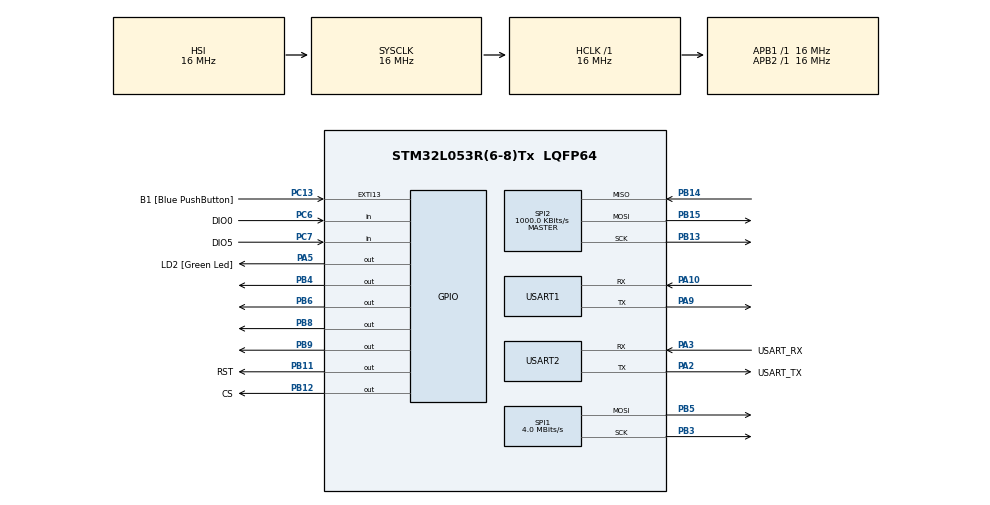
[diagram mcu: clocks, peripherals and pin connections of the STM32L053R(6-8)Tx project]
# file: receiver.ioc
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Dma.Request0=SPI2_RX
Dma.Request1=SPI2_TX
Dma.Request2=USART1_TX
Dma.Request3=USART1_RX
Dma.Request4=USART2_TX
Dma.Request5=USART2_RX
Dma.SPI2_RX.0.Direction=DMA_PERIPH_TO_MEMORY
Dma.SPI2_RX.0.Instance=DMA1_Channel4
Dma.SPI2_RX.0.MemDataAlignment=DMA_MDATAALIGN_BYTE
Dma.SPI2_RX.0.MemInc=DMA_MINC_ENABLE
Dma.SPI2_RX.0.Mode=DMA_NORMAL
Dma.SPI2_RX.0.PeriphDataAlignment=DMA_PDATAALIGN_BYTE
Dma.SPI2_RX.0.PeriphInc=DMA_PINC_DISABLE
Dma.SPI2_RX.0.Priority=DMA_PRIORITY_LOW
Dma.SPI2_TX.1.Direction=DMA_MEMORY_TO_PERIPH
Dma.SPI2_TX.1.Instance=DMA1_Channel5
Dma.SPI2_TX.1.MemDataAlignment=DMA_MDATAALIGN_BYTE
Dma.SPI2_TX.1.MemInc=DMA_MINC_ENABLE
Dma.SPI2_TX.1.Mode=DMA_NORMAL
Dma.SPI2_TX.1.PeriphDataAlignment=DMA_PDATAALIGN_BYTE
Dma.SPI2_TX.1.PeriphInc=DMA_PINC_DISABLE
Dma.SPI2_TX.1.Priority=DMA_PRIORITY_LOW
Dma.USART1_RX.3.Direction=DMA_PERIPH_TO_MEMORY
Dma.USART1_RX.3.Instance=DMA1_Channel3
Dma.USART1_RX.3.MemDataAlignment=DMA_MDATAALIGN_BYTE
Dma.USART1_RX.3.MemInc=DMA_MINC_ENABLE
Dma.USART1_RX.3.Mode=DMA_CIRCULAR
Dma.USART1_RX.3.PeriphDataAlignment=DMA_PDATAALIGN_BYTE
Dma.USART1_RX.3.PeriphInc=DMA_PINC_DISABLE
Dma.USART1_RX.3.Priority=DMA_PRIORITY_LOW
Dma.USART1_TX.2.Direction=DMA_MEMORY_TO_PERIPH
Dma.USART1_TX.2.Instance=DMA1_Channel2
Dma.USART1_TX.2.MemDataAlignment=DMA_MDATAALIGN_BYTE
Dma.USART1_TX.2.MemInc=DMA_MINC_ENABLE
Dma.USART1_TX.2.Mode=DMA_NORMAL
Dma.USART1_TX.2.PeriphDataAlignment=DMA_PDATAALIGN_BYTE
Dma.USART1_TX.2.PeriphInc=DMA_PINC_DISABLE
Dma.USART1_TX.2.Priority=DMA_PRIORITY_LOW
Dma.USART2_RX.5.Direction=DMA_PERIPH_TO_MEMORY
Dma.USART2_RX.5.Instance=DMA1_Channel6
Dma.USART2_RX.5.MemDataAlignment=DMA_MDATAALIGN_BYTE
Dma.USART2_RX.5.MemInc=DMA_MINC_ENABLE
Dma.USART2_RX.5.Mode=DMA_CIRCULAR
Dma.USART2_RX.5.PeriphDataAlignment=DMA_PDATAALIGN_BYTE
Dma.USART2_RX.5.PeriphInc=DMA_PINC_DISABLE
Dma.USART2_RX.5.Priority=DMA_PRIORITY_LOW
Dma.USART2_TX.4.Direction=DMA_MEMORY_TO_PERIPH
Dma.USART2_TX.4.Instance=DMA1_Channel7
Dma.USART2_TX.4.MemDataAlignment=DMA_MDATAALIGN_BYTE
Dma.USART2_TX.4.MemInc=DMA_MINC_ENABLE
Dma.USART2_TX.4.Mode=DMA_NORMAL
Dma.USART2_TX.4.PeriphDataAlignment=DMA_PDATAALIGN_BYTE
Dma.USART2_TX.4.PeriphInc=DMA_PINC_DISABLE
Dma.USART2_TX.4.Priority=DMA_PRIORITY_LOW
Mcu.Family=STM32L0
Mcu.Name=STM32L053R(6-8)Tx
Mcu.Package=LQFP64
NVIC.DMA1_Channel2_3_IRQn=true\:0\:0\:false\:false\:true
NVIC.DMA1_Channel4_5_6_7_IRQn=true\:0\:0\:false\:false\:true
NVIC.SPI2_IRQn=true\:0\:0\:false\:false\:true
NVIC.USART1_IRQn=true\:0\:0\:false\:false\:true
NVIC.USART2_IRQn=true\:0\:0\:false\:false\:true
PA10.Mode=Asynchronous
PA10.Signal=USART1_RX
PA13.GPIO_Label=TMS
PA13.Mode=Serial_Wire
PA13.Signal=SYS_SWDIO
PA14.GPIO_Label=TCK
PA14.Mode=Serial_Wire
PA14.Signal=SYS_SWCLK
PA2.GPIO_Label=USART_TX
PA2.Mode=Asynchronous
PA2.Signal=USART2_TX
PA3.GPIO_Label=USART_RX
PA3.Mode=Asynchronous
PA3.Signal=USART2_RX
PA5.GPIO_Label=LD2 [Green Led]
PA5.Signal=GPIO_Output
PA9.Mode=Asynchronous
PA9.Signal=USART1_TX
PB11.GPIO_Label=RST
PB11.Signal=GPIO_Output
PB12.GPIO_Label=CS
PB12.Signal=GPIO_Output
PB13.Mode=Full_Duplex_Master
PB13.Signal=SPI2_SCK
PB14.Mode=Full_Duplex_Master
PB14.Signal=SPI2_MISO
PB15.Mode=Full_Duplex_Master
PB15.Signal=SPI2_MOSI
PB3.Mode=TX_Only_Simplex_Unidirect_Master
PB3.Signal=SPI1_SCK
PB4.GPIO_PuPd=GPIO_PULLUP
PB4.GPIO_Speed=GPIO_SPEED_FREQ_VERY_HIGH
PB4.PinState=GPIO_PIN_SET
PB4.Signal=GPIO_Output
PB5.Mode=TX_Only_Simplex_Unidirect_Master
PB5.Signal=SPI1_MOSI
PB6.GPIO_FM6=I2C_FASTMODEPLUS_PB6
PB6.GPIO_PuPd=GPIO_PULLUP
PB6.GPIO_Speed=GPIO_SPEED_FREQ_VERY_HIGH
PB6.PinState=GPIO_PIN_SET
PB6.Signal=GPIO_Output
PB8.GPIO_FM8=I2C_FASTMODEPLUS_PB8
PB8.GPIO_ModeDefaultOutputPP=GPIO_MODE_OUTPUT_PP
PB8.GPIO_PuPd=GPIO_PULLUP
PB8.GPIO_Speed=GPIO_SPEED_FREQ_VERY_HIGH
PB8.PinState=GPIO_PIN_SET
PB8.Signal=GPIO_Output
PB9.GPIO_FM9=I2C_FASTMODEPLUS_PB9
PB9.GPIO_PuPd=GPIO_PULLUP
PB9.GPIO_Speed=GPIO_SPEED_FREQ_VERY_HIGH
PB9.Signal=GPIO_Output
PC13.GPIO_Label=B1 [Blue PushButton]
PC13.GPIO_ModeDefaultEXTI=GPIO_MODE_EVT_RISING
PC13.Signal=GPXTI13
PC14-OSC32_IN.Signal=RCC_OSC32_IN
PC15-OSC32_OUT.Signal=RCC_OSC32_OUT
PC6.GPIO_Label=DIO0
PC6.GPIO_PuPd=GPIO_PULLDOWN
PC6.Signal=GPIO_Input
PC7.GPIO_Label=DIO5
PC7.GPIO_PuPd=GPIO_PULLDOWN
PC7.Signal=GPIO_Input
PH0-OSC_IN.Signal=RCC_OSC_IN
PH1-OSC_OUT.Signal=RCC_OSC_OUT
ProjectManager.HeapSize=0x200
ProjectManager.StackSize=0x400
ProjectManager.TargetToolchain=MDK-ARM V5
RCC.ADCFreq_Value=16000000
RCC.AHBFreq_Value=16000000
RCC.APB1Freq_Value=16000000
RCC.APB1TimFreq_Value=16000000
RCC.APB2Freq_Value=16000000
RCC.APB2TimFreq_Value=16000000
RCC.HCLKFreq_Value=16000000
RCC.HSE_VALUE=8000000
RCC.HSI16_VALUE=16000000
RCC.HSI48MClockSelection=RCC_USBCLKSOURCE_HSI48
RCC.HSI48_VALUE=48000000
RCC.HSI_VALUE=16000000
RCC.LSE_VALUE=32768
RCC.MSIClockRange=RCC_MSIRANGE_4
RCC.MSI_VALUE=1048000
RCC.PLLDIV=RCC_PLLDIV_4
RCC.PLLMUL=RCC_PLLMUL_6
RCC.SYSCLKFreq_VALUE=16000000
RCC.SYSCLKSource=RCC_SYSCLKSOURCE_HSI
RCC.VCOOutputFreq_Value=96000000
SPI1.BaudRatePrescaler=SPI_BAUDRATEPRESCALER_4
SPI1.CalculateBaudRate=4.0 MBits/s
SPI1.Mode=SPI_MODE_MASTER
SPI1.NSSPMode=SPI_NSS_PULSE_DISABLE
SPI2.BaudRatePrescaler=SPI_BAUDRATEPRESCALER_16
SPI2.CalculateBaudRate=1000.0 KBits/s
SPI2.Mode=SPI_MODE_MASTER
USART1.WordLength=UART_WORDLENGTH_8B
USART2.WordLength=UART_WORDLENGTH_8B
board=NUCLEO-L053R8

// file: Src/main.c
/**
  ******************************************************************************
  * File Name          : main.c
  * Description        : Main program body
  ******************************************************************************
  *
  * COPYRIGHT(c) 2016 STMicroelectronics
  *
  * Redistribution and use in source and binary forms, with or without modification,
  * are permitted provided that the following conditions are met:
  *   1. Redistributions of source code must retain the above copyright notice,
  *      this list of conditions and the following disclaimer.
  *   2. Redistributions in binary form must reproduce the above copyright notice,
  *      this list of conditions and the following disclaimer in the documentation
  *      and/or other materials provided with the distribution.
  *   3. Neither the name of STMicroelectronics nor the names of its contributors
  *      may be used to endorse or promote products derived from this software
  *      without specific prior written permission.
  *
  * THIS SOFTWARE IS PROVIDED BY THE COPYRIGHT HOLDERS AND CONTRIBUTORS "AS IS"
  * AND ANY EXPRESS OR IMPLIED WARRANTIES, INCLUDING, BUT NOT LIMITED TO, THE
  * IMPLIED WARRANTIES OF MERCHANTABILITY AND FITNESS FOR A PARTICULAR PURPOSE ARE
  * DISCLAIMED. IN NO EVENT SHALL THE COPYRIGHT HOLDER OR CONTRIBUTORS BE LIABLE
  * FOR ANY DIRECT, INDIRECT, INCIDENTAL, SPECIAL, EXEMPLARY, OR CONSEQUENTIAL
  * DAMAGES (INCLUDING, BUT NOT LIMITED TO, PROCUREMENT OF SUBSTITUTE GOODS OR
  * SERVICES; LOSS OF USE, DATA, OR PROFITS; OR BUSINESS INTERRUPTION) HOWEVER
  * CAUSED AND ON ANY THEORY OF LIABILITY, WHETHER IN CONTRACT, STRICT LIABILITY,
  * OR TORT (INCLUDING NEGLIGENCE OR OTHERWISE) ARISING IN ANY WAY OUT OF THE USE
  * OF THIS SOFTWARE, EVEN IF ADVISED OF THE POSSIBILITY OF SUCH DAMAGE.
  *
  ******************************************************************************
  */
#include "stm32l0xx_hal.h"
#include "dma.h"
#include "spi.h"
#include "usart.h"
#include "gpio.h"

/* USER CODE BEGIN Includes */
#include "f10x-pcd8544.h"

#define	CS		GPIO_PIN_12	//A4 - CS
#define	DIO0	GPIO_PIN_6
#define	DIO5	GPIO_PIN_7
#define PACKAGE_LENGTH 16

#define	len	0x10

/* USER CODE END Includes */

/* USER CODE BEGIN PV */
/* Private variables ---------------------------------------------------------*/
uint8_t	package_length = 16;
uint8_t spiTxData[2];
uint8_t spiRxData[2];
uint8_t	send_SPI[0x04];
uint8_t	get_SPI[0x04];
uint8_t	iii,temp0,temp1,temp2,temp3,base_addr;
uint8_t	transmitLoRa[len] ={0x55,0xAA};
uint8_t	RegNumber[0x80];
uint16_t ttt,ttt1,x,y;
uint8_t	dig[3];
uint8_t buffer[10];
uint32_t	packet_number=0;
char	bbb[16] =  {0x20,0x20,0x20,0x20,0x20,0x20,0x20,0x20,0x20,0x20,0x20,0x20,0x20,0x20,0x0A,0x0D};
char* ptrbbb;
uint8_t	receive_UART[16] = {0};
uint8_t	buffer_receive_UART[16] = {0};
uint8_t	transmit_UART[48] = {0x20,0x20,0x20,0x20,0x20,0x20,0x20,0x20,0x20,0x20,0x20,0x20,0x20,0x20,0x20,0x20,
														 0x20,0x20,0x20,0x20,0x20,0x20,0x20,0x20,0x20,0x20,0x20,0x20,0x20,0x20,0x20,0x20,
													   0x20,0x20,0x20,0x20,0x20,0x20,0x20,0x20,0x20,0x20,0x20,0x20,0x20,0x20,0x0A,0x0D};
uint8_t	receive_pack[16] = {0};
uint8_t	addr_lora,addr_lora1,addr_lora2,data_lora,data_lora1,data_lora2;
  unsigned char i;
  unsigned char UART_Data;
  unsigned char RFM_Package[256]={0};

uint8_t	read_reg, read_register,reading_register,reading_register_l, reading_register_h,  read_register_l;
uint8_t	F_23_16,F_15_8,F_7_0;
uint8_t	l_100,l_10,l_1;
uint8_t	f_100000,f_10000,f_1000,f_100,f_10,f_1;
uint32_t freq_hex1,freq_hex2;
uint8_t power_bits, power_reg_old;
uint8_t bandwidth_bit, old_bandwidth_bit;
uint8_t spread, spread_read,spread_write,spread_mask;
uint8_t	time_sec;
extern	uint8_t* out1,out2;
extern	uint8_t spiTxData[2];
extern	uint8_t spiRxData[2];

uint8_t www[6];
uint8_t reg_setting[0x40];
/* USER CODE END PV */

void SystemClock_Config(void);
void Error_Handler(void);

/* USER CODE BEGIN PFP */
/* Private function prototypes -----------------------------------------------*/

/* USER CODE END PFP */

/* USER CODE BEGIN 0 */

/*
*****************************************************************************************
* Description:  Function is used to read a value from a specific register of the RFM module
*
* Arguments:    RFM_Adress  Adress of the register to read
*
* Return:       The value of the register is returned
*****************************************************************************************
*/
unsigned char RFM_Read(uint8_t RFM_Address)
{
spiTxData[0] = 	RFM_Address & 0x7F;
  //Set NSS pin low to start SPI communication
HAL_GPIO_WritePin(GPIOB, CS, GPIO_PIN_RESET);//CS = 0

HAL_SPI_TransmitReceive_DMA(&hspi2, spiTxData , spiRxData, 2);
  //Set NSS high to end communication

HAL_GPIO_WritePin(GPIOB, CS, GPIO_PIN_SET);//CS = 1
  //Return received data
  return spiRxData[1];
}

/*
*****************************************************************************************
* Description:    Function is used to write a value to a specific register of the RFM module
*
* Arguments:      RFM_Adress  Adress of the register to be written
                  RFM_Data    Data that will be written
*****************************************************************************************
*/
void RFM_Write(uint8_t RFM_Address, uint8_t RFM_Data)
{
  //Set NSS pin Low to start communication
HAL_GPIO_WritePin(GPIOB, CS, GPIO_PIN_RESET);//CS = 0

  //Send Addres with MSB 1 to make it a writ command
spiTxData[0] = 	RFM_Address | 0x80;
spiTxData[1] = 	RFM_Data;
  //Send Data
HAL_SPI_TransmitReceive_DMA(&hspi2, spiTxData , spiRxData, 2);

  //Set NSS pin High to end communication
HAL_GPIO_WritePin(GPIOB, CS, GPIO_PIN_SET);//CS = 1
}

/*
*****************************************************************************************
* Description  :   Function is used to send a message of 10 bytes
*
* Arguments   :   *RFM_Package Pointer to the array with the data to send
*****************************************************************************************
*/
void RFM_SendPackage(unsigned char *RFM_Package)
{
  unsigned char i;

  //Switch RFM to standby
  RFM_Write(0x01,0x81);
  //Wait for mode ready
  while(HAL_GPIO_ReadPin(GPIOC, DIO5) == 0){}

  //Set SPI pointer to Tx base address
  RFM_Write(0x0D,0x80);

  //Switch DIO to TxDone
  RFM_Write(0x40,0x40);

  //Write payload in to the fifo
  for(i = 0; i < package_length; i++)
  {
    RFM_Write(0x00,*RFM_Package);
    RFM_Package++;
  }

  //Switch RFM to TX
  RFM_Write(0x01,0x83);

  //Wait on TxDone
  while(HAL_GPIO_ReadPin(GPIOC, DIO0) == 0){}

  //Clear interrupt
  RFM_Write(0x12,0x08);

  //Set DIO0 to RxDone
  RFM_Write(0x40,0x00);

   //Set RFM in continues receive
  RFM_Write(0x01,0x85);
  //Wait for mode ready
  while(HAL_GPIO_ReadPin(GPIOC, DIO5) == 0){}
}

/*
*****************************************************************************************
* Description:  Function is to get a message of 10 bytes received by the RFM
*
* Arguments:    *RFM_Package  Pointer to the array with the data to send
*****************************************************************************************
*/
void RFM_ReadPackage(unsigned char *RFM_Package)
{
  unsigned char i;
//  unsigned char RFM_Interrupt;
  unsigned char RFM_PackageLocation;

  //Get interrupt register
//  RFM_Interrupt = RFM_Read(0x12);

  //Switch RFM to Standby
  RFM_Write(0x01,0x81);
  //Wait for mode ready
  while(HAL_GPIO_ReadPin(GPIOC, DIO5) == 0){}

  //Clear interrupt register
  RFM_Write(0x12,0x60);

  //Get package location
  RFM_PackageLocation = RFM_Read(0x10);

  //Set SPI pointer to Packagelocation
  RFM_Write(0x0D,RFM_PackageLocation);

  //Get message
  for(i = 0; i < package_length; i++)
  {
    *RFM_Package = RFM_Read(0x00);
    RFM_Package++;
  }

  //Switch RFM to receive
  RFM_Write(0x01,0x85);
  //Wait for mode ready
}

/*
*****************************************************************************************
* Description  :   Initialisation of the RFM module.
*                  Check the datasheet if you want to use other settings
*****************************************************************************************
*/
void RFM_Init()
{
  //Setting RFM in sleep
  RFM_Write(0x01,0x00);

  //Switch to LoRa mode
  RFM_Write(0x01,0x80);

  //Setting RFM to standby
  RFM_Write(0x01,0x81);
  //Wait for mode ready
  while(HAL_GPIO_ReadPin(GPIOC, DIO5) == 0){}

  //Set carrier frequency
  //433.175 MHz / 61.035 Hz = 7097157 = 0x6C4B45
  RFM_Write(0x06,0x6C);
  RFM_Write(0x07,0x4B);
  RFM_Write(0x08,0x45);

  //Set Pa pin to maximal power
  RFM_Write(0x09,0xFF);

  //Bandwith 250 kHz, Coding rate = 4/8, Implicit header mode
  RFM_Write(0x1D,0x8B);

  //Spreading factor 6, PayloadCRC on
  RFM_Write(0x1E,0x64);
  //Setting additional register for SF6 use other settings for the other SF
  RFM_Write(0x31,0xC5);
  RFM_Write(0x37,0x0C);

  //Preamble length 0x0018 + 4 = 28
  RFM_Write(0x20,0x00);
  RFM_Write(0x21,0x18);

  //Payload length
  RFM_Write(0x22,package_length);

  //Set RFM in continues receive
  RFM_Write(0x01,0x85);
  //Wait for mode ready
  while(HAL_GPIO_ReadPin(GPIOC, DIO5) == 0){}
}

void	digit(uint8_t	hexdig)
{
dig[0] = 0x30 + hexdig/100;
dig[1] = 0x30 + (hexdig - 100*(hexdig/100))/10;
dig[2] = 0x30 + (hexdig - 100*(hexdig/100) - 10*((hexdig - 100*(hexdig/100))/10));
}

uint8_t convert_to_hex_digit(uint8_t digit)
{
  switch(digit)
	{
		case 0x0:
			digit = 0x30;
		break;
		case 0x1:
			digit = 0x31;
		break;
		case 0x2:
			digit = 0x32;
		break;
		case 0x3:
			digit = 0x33;
		break;
		case 0x4:
			digit = 0x34;
		break;
		case 0x5:
			digit = 0x35;
		break;
		case 0x6:
			digit = 0x36;
		break;
		case 0x7:
			digit = 0x37;
		break;
		case 0x8:
			digit = 0x38;
		break;
		case 0x9:
			digit = 0x39;
		break;
		case 0xA:
			digit = 0x41;
		break;
		case 0xB:
			digit = 0x42;
		break;
		case 0xC:
			digit = 0x43;
		break;
		case 0xD:
			digit = 0x44;
		break;
		case 0xE:
			digit = 0x45;
		break;
		case 0xF:
			digit = 0x46;
		break;
		default:
			break;
	}
		return digit;
}
////////////////////////////////////////////////////////////////////////////////////////////////
void	hex_string(uint32_t packet_number, uint8_t* string_packet)
{
	uint8_t u[8];
	u[7] = packet_number/10000000;
	*string_packet = 0x30 + u[7];
	u[6] = (packet_number - u[7]*10000000)/1000000;
	*(string_packet + 1) = 0x30 + u[6];
	u[5] = (packet_number - u[7]*10000000 - u[6]*1000000)/100000;
	*(string_packet + 2) = 0x30 + u[5];
	u[4] = (packet_number - u[7]*10000000 -u [6]*1000000 - u[5]*100000)/10000;
	*(string_packet + 3) = 0x30  + u[4];
	u[3] = (packet_number - u[7]*10000000 - u[6]*1000000 - u[5]*100000 - u[4]*10000)/1000;
	*(string_packet + 4) = 0x30 + u[3];
	u[2] = (packet_number - u[7]*10000000 - u[6]*1000000 - u[5]*100000 - u[4]*10000 - u[3]*1000)/100;
	*(string_packet + 5) = 0x30 + u[2];
	u[1] = (packet_number - u[7]*10000000 - u[6]*1000000 - u[5]*100000 - u[4]*10000 - u[3]*1000 - u[2]*100)/10;
	*(string_packet + 6) = 0x30 + u[1];
	u[0] = (packet_number - u[7]*10000000 - u[6]*1000000 - u[5]*100000 - u[4]*10000 - u[3]*1000 - u[2]*100 - u[1]*10);
	*(string_packet + 7) = 0x30 + u[0];
}
///////////////////////////////////////////////////////////////////////////////////////////////////////////

/* USER CODE END 0 */

int main(void)
{

  /* MCU Configuration----------------------------------------------------------*/

  /* Reset of all peripherals, Initializes the Flash interface and the Systick. */
  HAL_Init();

  /* Configure the system clock */
  SystemClock_Config();

  /* Initialize all configured peripherals */
  MX_GPIO_Init();
  MX_DMA_Init();
  MX_SPI2_Init();
  MX_USART1_UART_Init();
  MX_USART2_UART_Init();
  MX_SPI1_Init();

  /* USER CODE BEGIN 2 */

  RFM_Package[0] = 0x20; RFM_Package[1] = 0x20; RFM_Package[2] = 0x20; RFM_Package[3] = 0x20; RFM_Package[4] = 0x20;
  RFM_Package[5] = 0x20; RFM_Package[6] = 0x20; RFM_Package[7] = 0x20; RFM_Package[8] = 0x20; RFM_Package[9] = 0x20;
  RFM_Package[0xA] = 0x20; RFM_Package[0xB] = 0x20; RFM_Package[0xC] = 0x20; RFM_Package[0xD] = 0x20;
	RFM_Package[0xE] = 0x0D;
	RFM_Package[0xF] = 0x0A;

  //Initialieze the RFM module
  RFM_Init();

lcd8544_init();

    const unsigned char str1[]="LORA RFM96W";
    const unsigned char str2[]="ON STM32F103";
    lcd8544_putstr(6, 10, str1, 0); // 1-st string
    lcd8544_putstr(6, 24, str2, 0); // 2-nd string

    lcd8544_refresh(); // buffer at screen
		HAL_Delay(500);

		char *text_no = "   NO  Signal  ";

			for(iii=0;iii<=14;iii++)
			{
			transmit_UART[iii] = *(text_no + iii);
			}

HAL_UART_Transmit_DMA(&huart2, transmit_UART, 48);

  /* USER CODE END 2 */

  /* Infinite loop */
  while (1)
  {

  /* USER CODE BEGIN 3 */

  //Setting RFM to standby
  RFM_Write(0x01,0x81);
  //Wait for mode ready
  while(HAL_GPIO_ReadPin(GPIOC, DIO5) == 0){}

  for(uint8_t  i=0; i<0x40;i++)
		{
			reg_setting[i]=RFM_Read(i);
		}

  //Set RFM in continues receive
  RFM_Write(0x01,0x85);
  //Wait for mode ready
  while(HAL_GPIO_ReadPin(GPIOC, DIO5) == 0){}

HAL_UART_Receive_DMA(&huart2, buffer_receive_UART, 12);
//-------     TEST receive command S (send to registers)
		if((buffer_receive_UART[0] == 0x53) && (buffer_receive_UART[11] == 0x29))
		{
						for(iii=0;iii<=15;iii++)
							{
								receive_UART[iii] = buffer_receive_UART[iii];
							}
						switch (receive_UART [4])
						{
							case 0x41:
								addr_lora1 = 0xA0;
								break;
							case 0x42:
								addr_lora1 = 0xB0;
								break;
							case 0x43:
								addr_lora1 = 0xC0;
								break;
							case 0x44:
								addr_lora1 = 0xD0;
								break;
							case 0x45:
								addr_lora1 = 0xE0;
								break;
							case 0x46:
								addr_lora1 = 0xF0;
								break;
							default:
							addr_lora1 = (0x0F & receive_UART[4]) << 4;
						}

						switch (receive_UART [5])
						{
							case 0x41:
								addr_lora2 = 0xA;
								break;
							case 0x42:
								addr_lora2 = 0xB;
								break;
							case 0x43:
								addr_lora2 = 0xC;
								break;
							case 0x44:
								addr_lora2 = 0xD;
								break;
							case 0x45:
								addr_lora2 = 0xE;
								break;
							case 0x46:
								addr_lora2 = 0xF;
								break;
							default:
							addr_lora2 = 0x0F & receive_UART[5];
						}
						addr_lora = addr_lora1 + addr_lora2;

						switch (receive_UART [9])
						{
							case 0x41:
								data_lora1 = 0xA0;
								break;
							case 0x42:
								data_lora1 = 0xB0;
								break;
							case 0x43:
								data_lora1 = 0xC0;
								break;
							case 0x44:
								data_lora1 = 0xD0;
								break;
							case 0x45:
								data_lora1 = 0xE0;
								break;
							case 0x46:
								data_lora1 = 0xF0;
								break;
							default:
							data_lora1 = (0x0F & receive_UART[9]) << 4;
						}

						switch (receive_UART [0x0A])
						{
							case 0x41:
								data_lora2 = 0xA;
								break;
							case 0x42:
								data_lora2 = 0xB;
								break;
							case 0x43:
								data_lora2 = 0xC;
								break;
							case 0x44:
								data_lora2 = 0xD;
								break;
							case 0x45:
								data_lora2 = 0xE;
								break;
							case 0x46:
								data_lora2 = 0xF;
								break;
							default:
							data_lora2 = 0x0F & receive_UART[0x0A];
						}
						data_lora = data_lora1 + data_lora2;

  //Setting RFM to standby
  RFM_Write(0x01,0x81);
  //Wait for mode ready
  while(HAL_GPIO_ReadPin(GPIOC, DIO5) == 0){}

						RFM_Write(addr_lora,data_lora);	//go SLEEP MODE !!!!
						read_reg = RFM_Read(addr_lora);
  //Set RFM in continues receive
  RFM_Write(0x01,0x85);
  //Wait for mode ready
  while(HAL_GPIO_ReadPin(GPIOC, DIO5) == 0){}

						char *ok = "  OK               ";
						for(iii=0;iii<=13;iii++)
						{
							transmit_UART[iii] = *(ok + iii);
						}
						HAL_UART_Transmit_DMA(&huart2, transmit_UART, 48);

						for(iii=0;iii<=15;iii++)
							{
								buffer_receive_UART[iii] = 0;
							}
		}

//-------     TEST receive command F (set frequency)
		if((buffer_receive_UART[0] == 0x46) && (buffer_receive_UART[8] == 0x29))
		{
						for(iii=0;iii<=15;iii++)
							{
								receive_UART[iii] = buffer_receive_UART[iii];
							}
			f_100000 = 0xF & receive_UART[2];
			f_10000	= 0xF & receive_UART[3];
			f_1000 = 0xF & receive_UART[4];
			f_100	= 0xF & receive_UART[5];
			f_10 = 0xF & receive_UART[6];
			f_1	= 0xF & receive_UART[7];

			freq_hex1 = (100000*f_100000 + 10000*f_10000 + 1000*f_1000 + 100*f_100 + 10*f_10 +f_1)*1000;
			freq_hex2 = freq_hex1 / 61.035;
			F_7_0 = 0xFF & freq_hex2;
			F_15_8 = 0xFF & (freq_hex2 >>8);
			F_23_16 = 0xFF & (freq_hex2 >>16);

  //Setting RFM to standby
  RFM_Write(0x01,0x81);
  //Wait for mode ready
  while(HAL_GPIO_ReadPin(GPIOC, DIO5) == 0){}

  //Set carrier frequency
  //433.175 MHz / 61.035 Hz = 7097157 = 0x6C4B45
	www[0] = RFM_Read(0x06);
	www[1] = RFM_Read(0x07);
	www[2] = RFM_Read(0x08);

  RFM_Write(0x06,F_23_16);
  RFM_Write(0x07,F_15_8);
  RFM_Write(0x08,F_7_0);

	www[3] = RFM_Read(0x06);
	www[4] = RFM_Read(0x07);
	www[5] = RFM_Read(0x08);

  //Set RFM in continues receive
  RFM_Write(0x01,0x85);
  //Wait for mode ready
  while(HAL_GPIO_ReadPin(GPIOC, DIO5) == 0){}

						char *ok = "  OK               ";
						for(iii=0;iii<=13;iii++)
						{
							transmit_UART[iii] = *(ok + iii);
						}
						HAL_UART_Transmit_DMA(&huart2, transmit_UART, 48);

						for(iii=0;iii<=15;iii++)
							{
								buffer_receive_UART[iii] = 0;
							}
		}

//-------     TEST receive command P (set power) 00- min 1,  12 - max
		if((buffer_receive_UART[0] == 0x50) && (buffer_receive_UART[4] == 0x29))
		{
						for(iii=0;iii<=15;iii++)
							{
								receive_UART[iii] = buffer_receive_UART[iii];
							}

						//Setting RFM to standby
						RFM_Write(0x01,0x81);
						//Wait for mode ready
						while(HAL_GPIO_ReadPin(GPIOC, DIO5) == 0){}
						power_reg_old = RFM_Read(0x09);
						power_reg_old = 0xF0 & power_reg_old;
						power_bits = 10*(0x1 & receive_UART[2]) + 0xF & receive_UART[3];
						//power_bits = power_bits << 4;
						power_bits = power_reg_old | power_bits;
						RFM_Write(0x09,power_bits);

  //Set RFM in continues receive
  RFM_Write(0x01,0x85);
  //Wait for mode ready
  while(HAL_GPIO_ReadPin(GPIOC, DIO5) == 0){}

						char *ok = "  OK               ";
						for(iii=0;iii<=13;iii++)
						{
							transmit_UART[iii] = *(ok + iii);
						}
						HAL_UART_Transmit_DMA(&huart2, transmit_UART, 48);

						for(iii=0;iii<=15;iii++)
							{
								buffer_receive_UART[iii] = 0;
							}

		}
//-------     TEST receive command B (set signal bandwidth) 1 - 7.8 kHz, 9 - 500 kHz
		if((buffer_receive_UART[0] == 0x42) && (buffer_receive_UART[3] == 0x29))
		{
						for(iii=0;iii<=15;iii++)
							{
								receive_UART[iii] = buffer_receive_UART[iii];
							}
  //Setting RFM to standby
  RFM_Write(0x01,0x81);
  //Wait for mode ready
  while(HAL_GPIO_ReadPin(GPIOC, DIO5) == 0){}

	old_bandwidth_bit = RFM_Read(0x1D);
	old_bandwidth_bit = 0xF0 & old_bandwidth_bit;
	bandwidth_bit = 0xF & receive_UART[2];
	bandwidth_bit = bandwidth_bit << 4;
	bandwidth_bit = old_bandwidth_bit | bandwidth_bit;

  RFM_Write(0x1D,bandwidth_bit);

  //Set RFM in continues receive
  RFM_Write(0x01,0x85);
  //Wait for mode ready
  while(HAL_GPIO_ReadPin(GPIOC, DIO5) == 0){}

						char *ok = "  OK               ";
						for(iii=0;iii<=13;iii++)
						{
							transmit_UART[iii] = *(ok + iii);
						}
						HAL_UART_Transmit_DMA(&huart2, transmit_UART, 48);

						for(iii=0;iii<=15;iii++)
							{
								buffer_receive_UART[iii] = 0;
							}
		}
//-------     TEST receive command D (set Spreading Factor) 6 - 64 chips / symbol, 12 - 4096 chips / symbol
		if((buffer_receive_UART[0] == 0x44) && (buffer_receive_UART[3] == 0x29))
		{
						for(iii=0;iii<=15;iii++)
							{
								receive_UART[iii] = buffer_receive_UART[iii];
							}

  //Spreading factor 6, PayloadCRC on
  //RFM_Write(0x1E,0x64);

  //Setting RFM to standby
  RFM_Write(0x01,0x81);
  //Wait for mode ready
  while(HAL_GPIO_ReadPin(GPIOC, DIO5) == 0){}

						spread_read = RFM_Read(0x1E);
						spread_mask = 0xF & receive_UART[2];
						if(spread_mask > 6){spread_mask = 6;}
						spread = 0x60 + (spread_mask << 4);
						spread_write = spread | (0x0f & spread_read);

  RFM_Write(0x1E,spread);

  //Set RFM in continues receive
  RFM_Write(0x01,0x85);
  //Wait for mode ready
  while(HAL_GPIO_ReadPin(GPIOC, DIO5) == 0){}

						char *ok = "  OK               ";
						for(iii=0;iii<=13;iii++)
						{
							transmit_UART[iii] = *(ok + iii);
						}
						HAL_UART_Transmit_DMA(&huart2, transmit_UART, 48);

						for(iii=0;iii<=15;iii++)
							{
								buffer_receive_UART[iii] = 0;
							}
		}
//-------     TEST receive command T (set time) in sec
		if((buffer_receive_UART[0] == 0x54) && (buffer_receive_UART[4] == 0x29))
		{
						for(iii=0;iii<=15;iii++)
							{
								receive_UART[iii] = buffer_receive_UART[iii];
							}
						time_sec = 16*(0xf & receive_UART[2]) + 0xf & receive_UART[3];

						char *ok = "  OK               ";
						for(iii=0;iii<=13;iii++)
						{
							transmit_UART[iii] = *(ok + iii);
						}
						HAL_UART_Transmit_DMA(&huart2, transmit_UART, 48);

						for(iii=0;iii<=15;iii++)
							{
								buffer_receive_UART[iii] = 0;
							}
		}

//-------     TEST receive command L (set package length)
		if((buffer_receive_UART[0] == 0x4C) && (buffer_receive_UART[5] == 0x29))
		{
						for(iii=0;iii<=15;iii++)
							{
								receive_UART[iii] = buffer_receive_UART[iii];
							}
			l_100	= 0xF & receive_UART[2];
			l_10 = 0xF & receive_UART[3];
			l_1	= 0xF & receive_UART[4];
			package_length = 100*l_100+10*l_10+l_1;

  //Setting RFM to standby
  RFM_Write(0x01,0x81);
  //Wait for mode ready
  while(HAL_GPIO_ReadPin(GPIOC, DIO5) == 0){}

  //Set payload length in bytes
  RFM_Write(0x22,package_length);

  RFM_Write(0x01,0x85);
  //Wait for mode ready
  while(HAL_GPIO_ReadPin(GPIOC, DIO5) == 0){}

						char *ok = "  OK               ";
						for(iii=0;iii<=13;iii++)
						{
							transmit_UART[iii] = *(ok + iii);
						}
						HAL_UART_Transmit_DMA(&huart2, transmit_UART, 48);

						for(iii=0;iii<=15;iii++)
							{
								buffer_receive_UART[iii] = 0;
							}
		}

//-------     TEST receive command R - read register
		if((buffer_receive_UART[0] == 0x52) && (buffer_receive_UART[6] == 0x29))
		{
						for(iii=0;iii<=15;iii++)
							{
								receive_UART[iii] = buffer_receive_UART[iii];
							}

	  read_register_l = receive_UART[5];
		switch(read_register_l)
			{
			case 0x30:
					read_register_l = 0;
				break;
			case 0x31:
					read_register_l = 1;
				break;
			case 0x32:
					read_register_l = 2;
				break;
			case 0x33:
					read_register_l = 3;
				break;
			case 0x34:
					read_register_l = 4;
				break;
			case 0x35:
					read_register_l = 5;
				break;
			case 0x36:
					read_register_l = 6;
				break;
			case 0x37:
					read_register_l = 7;
				break;
			case 0x38:
					read_register_l = 8;
				break;
			case 0x39:
					read_register_l = 9;
				break;
			case 0x41:
					read_register_l = 0xA;
				break;
			case 0x42:
					read_register_l = 0xB;
				break;
			case 0x43:
					read_register_l = 0xC;
				break;
			case 0x44:
					read_register_l = 0xD;
				break;
			case 0x45:
					read_register_l = 0xE;
				break;
			case 0x46:
					read_register_l = 0xF;
				break;
			}
  //Setting RFM to standby
  RFM_Write(0x01,0x81);
  //Wait for mode ready
  while(HAL_GPIO_ReadPin(GPIOC, DIO5) == 0){}
	read_register = 0x10*receive_UART[4] + read_register_l;
	reading_register = RFM_Read(read_register);

  reading_register_h = (0xF0 &reading_register) >> 4;
	reading_register_l = (0xF & reading_register);

  //Set RFM in continues receive
  RFM_Write(0x01,0x85);
  //Wait for mode ready
  while(HAL_GPIO_ReadPin(GPIOC, DIO5) == 0){}

						char *ok = "Register           ";
						for(iii=0;iii<=13;iii++)
						{
							transmit_UART[iii] = *(ok + iii);
						}
            transmit_UART[9] = receive_UART[4];
						transmit_UART[0xA] = receive_UART[5];
						transmit_UART[0xB] = 0x20;
						transmit_UART[0xC] = 0x3D;
						transmit_UART[0xD] = 0x20;
						transmit_UART[0xE] = convert_to_hex_digit(reading_register_h);
						transmit_UART[0xF] = convert_to_hex_digit(reading_register_l);
						HAL_UART_Transmit_DMA(&huart2, transmit_UART, 32);

						for(iii=0;iii<=15;iii++)
							{
								buffer_receive_UART[iii] = 0;
							}
		}

		//Check if the RFM has received a package
    if(HAL_GPIO_ReadPin(GPIOC, DIO0) == 1)
    {
			HAL_GPIO_TogglePin	(GPIOA, GPIO_PIN_5);
      //Get package from RFM
      RFM_ReadPackage(RFM_Package);
      //Send package over Serial
//			HAL_UART_Transmit_DMA(&huart2, RFM_Package, 16);
			for(iii=24;iii<=31;iii++)
			{
			transmit_UART[iii] = RFM_Package[iii-24];
			}

//RegPktSnrValue			(0x19)		Variable Name - PacketSnr
//Estimation of SNR on last packet received.In two’s compliment
//format mutiplied by 4.
//SNR[dB ] = 	PacketSnr[twos compliment] / 4
			buffer[0] = RFM_Read(0x19);
//RegPktRssiValue			(0x1A)		Variable Name - PacketRssi
//RSSI of the latest packet received (dBm)
//	RSSI[dBm ] = – 137 + PacketRssi
			buffer[1] = RFM_Read(0x1A);
//RegRssiValue				(0x1B)		Variable Name - Rssi
//Current RSSI value (dBm)
//	RSSI[dBm ] = – 137 + Rssi
			buffer[2] = RFM_Read(0x1B);

//			HAL_UART_Transmit_DMA(&huart1, transmit_UART, 48);
//			HAL_UART_Transmit_DMA(&huart2, transmit_UART, 48);

lcd8544_init();
for(x=0;x<=84;x++)
{
	for(y=0;y<=48;y++)
	{
	lcd8544_putpix(x,y,0);
	}
}
			for(iii=0;iii<=15;iii++)
			{
			transmit_UART[iii] =0x20;
			}
//			transmit_UART[0x0E]=0x0D;
//			transmit_UART[0x0F]=0x0A;

digit(buffer[0]);
	lcd8544_putchar(0,0,dig[0],0);
	lcd8544_putchar(8,0,dig[1],0);
	lcd8544_putchar(16,0,dig[2],0);
	lcd8544_putchar(32,0,0x53,0);
	lcd8544_putchar(40,0,0x4e,0);
	lcd8544_putchar(48,0,0x52,0);
transmit_UART[0]=dig[0];
transmit_UART[1]=dig[1];
transmit_UART[2]=dig[2];
digit(buffer[1]);
	lcd8544_putchar(0,10,dig[0],0);
	lcd8544_putchar(8,10,dig[1],0);
	lcd8544_putchar(16,10,dig[2],0);
	lcd8544_putchar(32,10,0x52,0);
	lcd8544_putchar(40,10,0x53,0);
	lcd8544_putchar(48,10,0x53,0);
	lcd8544_putchar(56,10,0x49,0);
	lcd8544_putchar(70,10,0x50,0);
	lcd8544_putchar(78,10,0x4b,0);
transmit_UART[5]=dig[0];
transmit_UART[6]=dig[1];
transmit_UART[7]=dig[2];
digit(buffer[2]);
	lcd8544_putchar(0,20,dig[0],0);
	lcd8544_putchar(8,20,dig[1],0);
	lcd8544_putchar(16,20,dig[2],0);
	lcd8544_putchar(32,20,0x52,0);
	lcd8544_putchar(40,20,0x53,0);
	lcd8544_putchar(48,20,0x53,0);
	lcd8544_putchar(56,20,0x49,0);
transmit_UART[0xa]=dig[0];
transmit_UART[0xb]=dig[1];
transmit_UART[0xc]=dig[2];

lcd8544_refresh(); // buffer at screen

if((RFM_Read(0x12)) && 0x20 != 1)
{
transmit_UART[0x0f] = 0x43;
transmit_UART[0x10] = 0x52;
transmit_UART[0x11] = 0x43;
transmit_UART[0x12] = 0x20;
transmit_UART[0x13] = 0x4F;
transmit_UART[0x14] = 0x4B;
transmit_UART[0x15] = 0x20;
}
else
{
transmit_UART[0x0f] = 0x43;
transmit_UART[0x10] = 0x52;
transmit_UART[0x11] = 0x43;
transmit_UART[0x12] = 0x20;
transmit_UART[0x13] = 0x42;
transmit_UART[0x14] = 0x41;
transmit_UART[0x15] = 0x44;
}

HAL_UART_Transmit_DMA(&huart2, transmit_UART, 48);

		}
//else
//	{
//		char *text_no = "   NO  Signal  ";
//
//			for(iii=0;iii<=14;iii++)
//			{
//			transmit_UART[iii] = *(text_no + iii);
//			}
//
//HAL_UART_Transmit_DMA(&huart2, transmit_UART, 32);
//HAL_Delay(1000);
//	}
  }
  /* USER CODE END 3 */

}

/** System Clock Configuration
*/
void SystemClock_Config(void)
{

  RCC_OscInitTypeDef RCC_OscInitStruct;
  RCC_ClkInitTypeDef RCC_ClkInitStruct;
  RCC_PeriphCLKInitTypeDef PeriphClkInit;

  __HAL_RCC_PWR_CLK_ENABLE();

  __HAL_PWR_VOLTAGESCALING_CONFIG(PWR_REGULATOR_VOLTAGE_SCALE1);

  RCC_OscInitStruct.OscillatorType = RCC_OSCILLATORTYPE_HSI;
  RCC_OscInitStruct.HSIState = RCC_HSI_ON;
  RCC_OscInitStruct.HSICalibrationValue = 16;
  RCC_OscInitStruct.PLL.PLLState = RCC_PLL_NONE;
  if (HAL_RCC_OscConfig(&RCC_OscInitStruct) != HAL_OK)
  {
    Error_Handler();
  }

  RCC_ClkInitStruct.ClockType = RCC_CLOCKTYPE_HCLK|RCC_CLOCKTYPE_SYSCLK
                              |RCC_CLOCKTYPE_PCLK1|RCC_CLOCKTYPE_PCLK2;
  RCC_ClkInitStruct.SYSCLKSource = RCC_SYSCLKSOURCE_HSI;
  RCC_ClkInitStruct.AHBCLKDivider = RCC_SYSCLK_DIV1;
  RCC_ClkInitStruct.APB1CLKDivider = RCC_HCLK_DIV1;
  RCC_ClkInitStruct.APB2CLKDivider = RCC_HCLK_DIV1;
  if (HAL_RCC_ClockConfig(&RCC_ClkInitStruct, FLASH_LATENCY_0) != HAL_OK)
  {
    Error_Handler();
  }

  PeriphClkInit.PeriphClockSelection = RCC_PERIPHCLK_USART1|RCC_PERIPHCLK_USART2;
  PeriphClkInit.Usart1ClockSelection = RCC_USART1CLKSOURCE_PCLK2;
  PeriphClkInit.Usart2ClockSelection = RCC_USART2CLKSOURCE_PCLK1;
  if (HAL_RCCEx_PeriphCLKConfig(&PeriphClkInit) != HAL_OK)
  {
    Error_Handler();
  }

  HAL_SYSTICK_Config(HAL_RCC_GetHCLKFreq()/1000);

  HAL_SYSTICK_CLKSourceConfig(SYSTICK_CLKSOURCE_HCLK);

  /* SysTick_IRQn interrupt configuration */
  HAL_NVIC_SetPriority(SysTick_IRQn, 0, 0);
}

void Error_Handler(void)
{
  while(1)
  {
  }
}

/************************ (C) COPYRIGHT STMicroelectronics *****END OF FILE****/
